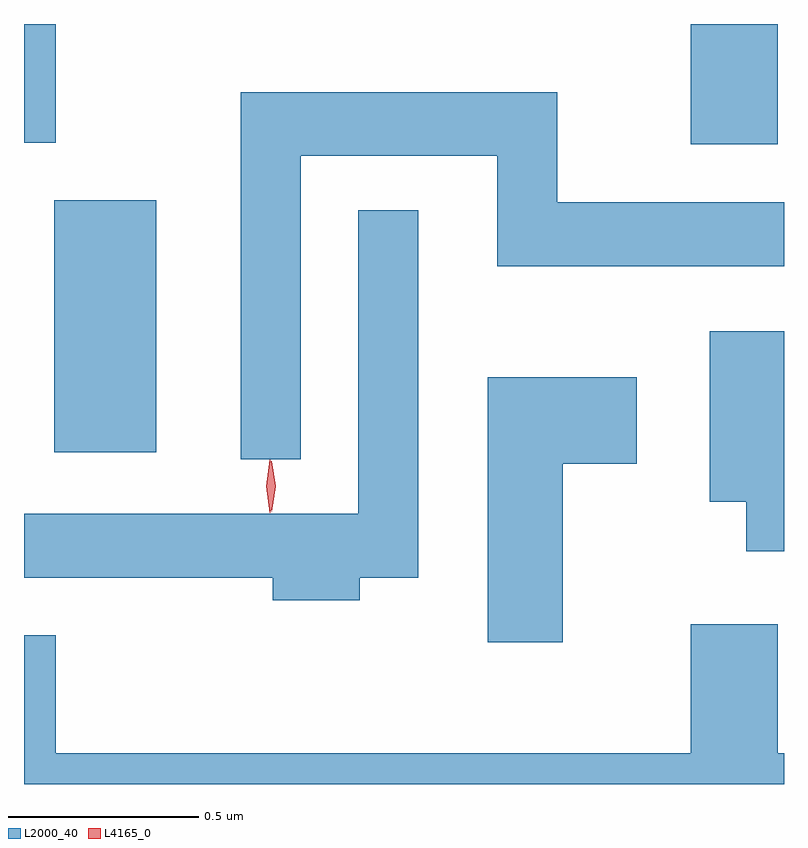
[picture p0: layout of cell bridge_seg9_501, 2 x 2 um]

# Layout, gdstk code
import gdstk
lib = gdstk.Library(unit=1e-6, precision=1e-09)
def R(c, l, rs):  # rectangles x0, y0, x1, y1
    for r in rs: c.add(gdstk.rectangle(r[:2], r[2:], *l))
def P(c, l, *ps):  # polygons
    for p in ps: c.add(gdstk.Polygon(p, *l))
L2000_40 = (2000, 40)
L4165_0 = (4165, 0)

bridge_seg9_501 = lib.new_cell('bridge_seg9_501')
R(bridge_seg9_501, L2000_40, [(564.546,1979.556,564.814,1980.219), (566.221,1980.366,566.449,1980.683), (564.466,1980.371,564.549,1980.683)])
P(bridge_seg9_501, L2000_40, [(565.194,1980.336),(565.711,1980.336),(565.711,1980.046),(566.466,1980.046),(566.466,1980.214),(565.869,1980.214),(565.869,1980.504),(565.036,1980.504),(565.036,1979.538),(565.194,1979.538)],
  [(565.349,1979.226),(565.504,1979.226),(565.504,1980.193),(565.346,1980.193),(565.346,1979.394),(564.466,1979.394),(564.466,1979.226),(565.121,1979.226),(565.121,1979.166),(565.349,1979.166)],
  [(566.466,1979.874),(566.271,1979.874),(566.271,1979.426),(566.366,1979.426),(566.366,1979.296),(566.466,1979.296)],
  [(565.884,1979.526),(566.079,1979.526),(566.079,1979.754),(565.686,1979.754),(565.686,1979.056),(565.884,1979.056)],
  [(566.466,1978.764),(566.449,1978.764),(566.449,1979.104),(566.221,1979.104),(566.221,1978.764),(564.549,1978.764),(564.549,1979.074),(564.466,1979.074),(564.466,1978.683),(566.466,1978.683)])
P(bridge_seg9_501, L4165_0, [(565.113,1979.397),(565.104,1979.466),(565.113,1979.536),(565.114,1979.536),(565.114,1979.536),(565.124,1979.466),(565.114,1979.397),(565.114,1979.397)],
  [(565.118,1979.399),(565.118,1979.4),(565.108,1979.466),(565.117,1979.532),(565.118,1979.533),(565.118,1979.532),(565.128,1979.466),(565.118,1979.4)])

lib.write_gds('bridge_seg9_501.gds')
